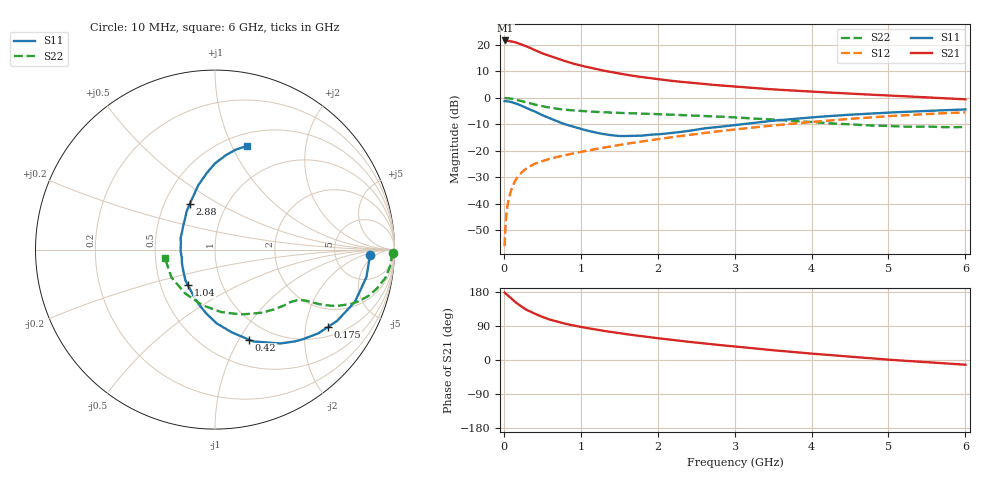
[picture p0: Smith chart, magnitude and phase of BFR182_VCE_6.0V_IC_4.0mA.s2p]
! Infineon Technologies  Discrete & RF Semiconductors
! BFR182
! VCE =  6.0 V,  IC =  4.0 mA
! Common Emitter S-Parameters:  Nov 2015
# GHz  S  MA  R  50
!  f  S11  S21  S12  S22
! GHz  MAG  ANG  MAG  ANG  MAG  ANG  MAG  ANG
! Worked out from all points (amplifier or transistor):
!   210 points, 10 MHz to 6 GHz, reference 50 ohm
!   highest |S21| = 21.6 dB at 20 MHz (marker M1)
!   |S21| within 3 dB of that: start of sweep to 354.1 MHz
!   unconditionally stable (mu >= 1): 1.2 GHz to 2.963 GHz
!   at 185 MHz: K = 0.28, MSG = 25.1 dB, |S12| = -29.7 dB
!   at 1.52 GHz: K = 1.05, MAG = 12.0 dB, |S12| = -17.7 dB
!   at 6 GHz: K = 0.88, MSG = 2.5 dB, |S12| = -5.5 dB
!   S11 on the Smith chart (normalised r, x): 10 MHz: 13, -3; 175 MHz: 1.29, -2.67; 420 MHz: 0.78, -1.10; 1.04 GHz: 0.69, -0.29; 2.88 GHz: 0.67, +0.37; 6 GHz: 0.63, +1.14
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0.01  0.8669 -2.1  11.99 178.0  0.0016 84.9  0.992 -1.0
0.02  0.8613 -4.0  12.03 175.9  0.0036 85.2  0.9858 -2.0
0.05  0.8576 -10.3  11.87 170.7  0.0099 86.1  0.9825 -4.9
0.1  0.8319 -20.5  11.56 162.0  0.0191 78.5  0.9628 -9.4
0.15  0.788 -30.2  11.12 152.6  0.0278 73.8  0.9274 -13.6
0.175  0.7627 -34.4  10.77 149.1  0.0314 72.0  0.9089 -15.2
0.24  0.6991 -45.6  9.981 139.6  0.0403 67.7  0.8603 -19.1
0.3  0.6371 -55.2  9.228 131.7  0.0473 64.4  0.8118 -22.0
0.42  0.5358 -69.4  7.729 120.7  0.0583 60.4  0.7356 -25.2
0.5  0.4702 -78.6  6.872 113.5  0.0641 59.1  0.6939 -26.6
0.6  0.4105 -88.8  6.126 106.5  0.071 58.1  0.652 -27.7
0.7  0.3581 -98.0  5.456 100.7  0.0772 57.8  0.6191 -28.4
0.84  0.3032 -109.8  4.692 93.9  0.0857 57.8  0.5888 -29.1
1.02  0.2541 -125.3  3.987 86.6  0.0967 58.3  0.5623 -30.1
1.04  0.2497 -127.3  3.927 85.9  0.098 58.4  0.5599 -30.3
1.4  0.1974 -159.2  3.038 73.7  0.1215 59.9  0.5261 -33.1
2.02  0.2056 154.6  2.224 57.1  0.1677 59.8  0.4912 -39.9
2.88  0.2917 118.7  1.678 38.0  0.2416 56.2  0.4367 -53.8
3.1  0.3175 112.9  1.584 33.6  0.262 54.5  0.4178 -58.3
4.1  0.438 94.9  1.285 15.3  0.36 45.4  0.3407 -87.6
5.1  0.5344 82.7  1.088 -0.4  0.4592 33.5  0.2901 -128.7
6  0.6036 72.9  0.935 -12.5  0.5316 20.6  0.2824 -170.2
